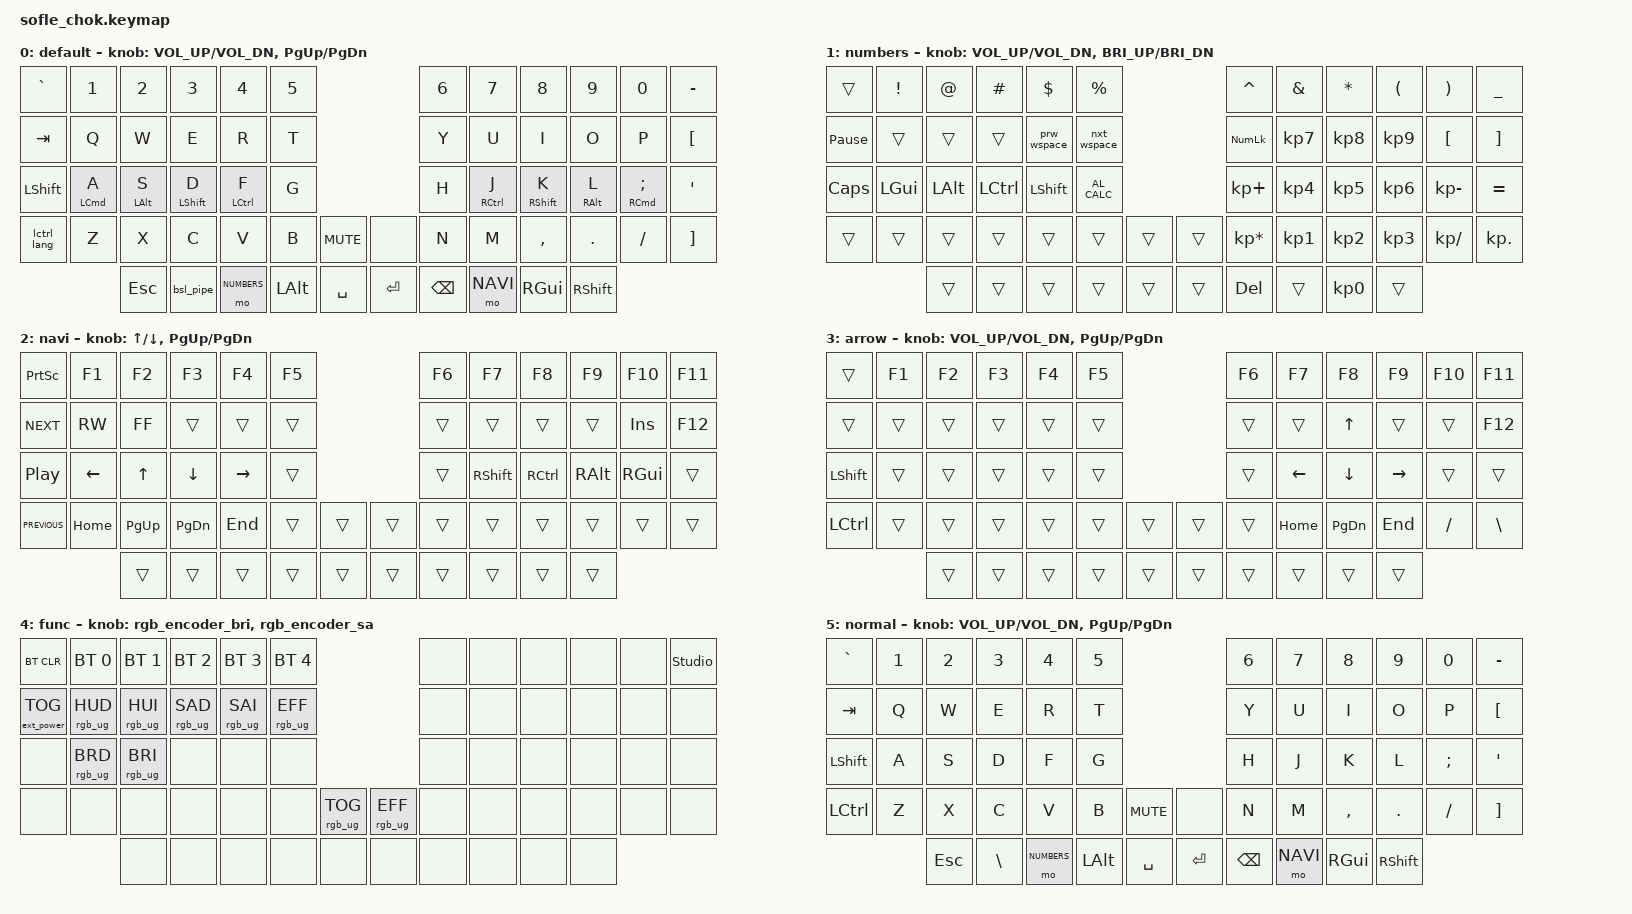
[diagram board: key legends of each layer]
/*
 * Copyright (c) 2020 The ZMK Contributors
 *
 * SPDX-License-Identifier: MIT
 */

/* --- KEYMAP CONFIG --- */
// ╭──────┬──────┬──────┬──────┬──────┬──────╮                 ╭──────┬──────┬──────┬──────┬──────┬──────╮
// │  00  │  01  │  02  │  03  │  04  │  05  │                 │  06  │  07  │  08  │  09  │  10  │  11  │
// ├──────┼──────┼──────┼──────┼──────┼──────┤                 ├──────┼──────┼──────┼──────┼──────┼──────┤
// │  12  │  13  │  14  │  15  │  16  │  17  │                 │  18  │  19  │  20  │  21  │  22  │  23  │
// ├──────┼──────┼──────┼──────┼──────┼──────┤                 ├──────┼──────┼──────┼──────┼──────┼──────┤
// │  24  │  25  │  26  │  27  │  28  │  29  │                 │  30  │  31  │  32  │  33  │  34  │  35  │
// ├──────┼──────┼──────┼──────┼──────┼──────┼──────╮   ╭──────┼──────┼──────┼──────┼──────┼──────┼──────┤
// │  36  │  37  │  38  │  39  │  40  │  41  │  42  │   │  43  │  44  │  45  │  46  │  47  │  48  │  49  │
// ╰──────┴──────┼──────┼──────┼──────┼──────┼──────┤   ├──────├──────┼──────┼──────┼──────┼──────┴──────╯
//               │  50  │  51  │  52  │  53  │  54  │   │  55  │  56  │  57  │  58  │  59  │
//               ╰──────┴──────┴──────┴──────┴──────╯   ╰──────┴──────┴──────┴──────┴──────╯


#include <behaviors.dtsi>
#include <dt-bindings/zmk/keys.h>
#include <dt-bindings/zmk/bt.h>
#include <dt-bindings/zmk/rgb.h>
#include <dt-bindings/zmk/ext_power.h>

#define QWERTY       0
#define NUMBERS      1
#define NAVI         2
#define ARROW        3
#define FN           4
#define NORMAL       5

#define LEFT_ROW_KEYS        0  1  2  3  4  5 \
                            12 13 14 15 16 17 \
                            24 25 26 27 28 29 \
                            36 37 38 39 40 41 \
                                  50 51 52 53 54
#define LEFT_ENCODER     42
#define RIGHT_ENCODER    43
#define RIGHT_ROW_KEYS          6  7  8  9 10 11 \
                               18 19 20 21 22 23 \
                               30 31 32 33 34 35 \
                               44 45 46 47 48 49 \
                            55 56 57 58 59

/ {

    combos {
        compatible = "zmk,combos";

        caps_word {
            bindings = <&caps_word>;
            key-positions = <28 31>;
            layers = <QWERTY NORMAL>;
        };
        
        to-qwerty {
            bindings = <&to QWERTY>;
            key-positions = <52 57>;
            layers = <FN NORMAL>;
        };

        to-normal {
            bindings = <&to NORMAL>;
            key-positions = <52 57>;
            layers = <QWERTY>;
        };
        
        to-fn {
            bindings = <&to FN>;
            key-positions = <50 59>;
            layers = <QWERTY NORMAL>;
        };
        
        
    };

    macros {

        alt_tog: alt_tog {
            compatible = "zmk,behavior-macro";
            #binding-cells = <0>;
            bindings
                = <&macro_press &mo ARROW &kp LALT>
                , <&macro_pause_for_release>
                , <&macro_release &mo ARROW &kp LALT>
                ;
        };
        win_space: win_space {
            compatible = "zmk,behavior-macro";
            #binding-cells = <0>;
            bindings
                = <&macro_press &kp LGUI>
                , <&macro_tap &kp SPACE>
                , <&macro_release &kp LGUI>
                ;
        };
        nxt_wspace: nxt_wspace {
            compatible = "zmk,behavior-macro";
            #binding-cells = <0>;
            bindings
                = <&macro_press &kp LGUI &kp LCTRL>
                , <&macro_tap &kp RIGHT>
                , <&macro_release &kp LGUI &kp LCTRL>
                ;
        };
        prw_wspace: prw_wspace {
            compatible = "zmk,behavior-macro";
            #binding-cells = <0>;
            bindings
                = <&macro_press &kp LGUI &kp LCTRL>
                , <&macro_tap &kp LEFT>
                , <&macro_release &kp LGUI &kp LCTRL>
                ;
        };
    };
    behaviors {    
        rgb_encoder_bri: rgb_encoder_bri {
            compatible = "zmk,behavior-sensor-rotate";
            #sensor-binding-cells = <0>;
            bindings = <&rgb_ug RGB_BRI>, <&rgb_ug RGB_BRD>;
        };    
        rgb_encoder_sa: rgb_encoder_sa {
            compatible = "zmk,behavior-sensor-rotate";
            #sensor-binding-cells = <0>;
            bindings = <&rgb_ug RGB_SAI>, <&rgb_ug RGB_SAD>;
        };
        rgb_encoder_hu: rgb_encoder_hu {
            compatible = "zmk,behavior-sensor-rotate";
            #sensor-binding-cells = <0>;
            bindings = <&rgb_ug RGB_HUI>, <&rgb_ug RGB_HUD>;
        };
        lctrl_lang: lctrl_lang {
            compatible = "zmk,behavior-tap-dance";
            #binding-cells = <0>;
            tapping-term-ms = <400>;
            bindings = <&kp LCTRL>, <&win_space>;
        };
        
        bsl_pipe: bsl_pipe {
            compatible = "zmk,behavior-tap-dance";
            #binding-cells = <0>;
            tapping-term-ms = <200>;
            bindings = <&kp BSLH>, <&kp PIPE>;
        };
 
        gresc: grave_escape {
            compatible = "zmk,behavior-mod-morph";
            #binding-cells = <0>;
            bindings = <&kp GRAVE>, <&kp ESC>;
            mods = <(MOD_LGUI|MOD_RCTL|MOD_RGUI|MOD_LCTL)>;
        };

        hmr: hmr {
            compatible = "zmk,behavior-hold-tap";
            bindings = <&kp>, <&kp>;
            #binding-cells = <2>;
            tapping-term-ms = <280>;
            quick-tap-ms = <175>;
            require-prior-idle-ms = <65>;
            flavor = "balanced";
            retro-tap;
            hold-trigger-key-positions = <LEFT_ROW_KEYS LEFT_ENCODER RIGHT_ENCODER>;
            hold-trigger-on-release;
        };

        hml: hml {
            compatible = "zmk,behavior-hold-tap";
            bindings = <&kp>, <&kp>;
            #binding-cells = <2>;
            tapping-term-ms = <280>;
            quick-tap-ms = <175>;
            require-prior-idle-ms = <65>;
            flavor = "balanced";
            retro-tap;
            hold-trigger-key-positions = <RIGHT_ROW_KEYS LEFT_ENCODER RIGHT_ENCODER>;
            hold-trigger-on-release;
        };

        hmt: hmt {
            compatible = "zmk,behavior-hold-tap";
            bindings = <&kp>, <&kp>;
            #binding-cells = <2>;
            tapping-term-ms = <280>;
            flavor = "balanced";
            hold-trigger-on-release;
            hold-while-undecided;
        };
    };
    keymap {
        compatible = "zmk,keymap";

        default_layer {
            display-name = "default";
            bindings = <
&kp GRAVE    &kp N1        &kp N2       &kp N3        &kp N4        &kp N5                           &kp N6    &kp N7        &kp N8        &kp N9       &kp N0          &kp MINUS
&kp TAB      &kp Q         &kp W        &kp E         &kp R         &kp T                            &kp Y     &kp U         &kp I         &kp O        &kp P           &kp LBKT
&kp LSHFT    &hml LCMD A   &hml LALT S  &hml LSHFT D  &hml LCTRL F  &kp G                            &kp H     &hmr RCTRL J  &hmr RSHFT K  &hmr RALT L  &hmr RCMD SEMI  &kp APOS
&lctrl_lang  &kp Z         &kp X        &kp C         &kp V         &kp B     &kp C_MUTE    &none    &kp N     &kp M         &kp COMMA     &kp DOT      &kp SLASH       &kp RBKT 
                           &kp ESC      &bsl_pipe     &mo NUMBERS   &kp LALT  &kp SPACE     &kp RET  &kp BSPC  &mo NAVI      &kp RGUI      &kp RSHFT
            >;

            sensor-bindings = <&inc_dec_kp C_VOL_UP C_VOL_DN &inc_dec_kp PG_UP PG_DN>;
        };

        numbers_layer {
            display-name = "numbers";

            bindings = <
&trans            &kp EXCL  &kp AT    &kp HASH   &kp DOLLAR   &kp PERCENT                      &kp CARET        &kp AMPS   &kp STAR   &kp LPAR   &kp RPAR      &kp UNDER
&kp PAUSE_BREAK   &trans    &trans    &trans     &prw_wspace  &nxt_wspace                      &kp KP_NUM       &kp KP_N7  &kp KP_N8  &kp KP_N9  &kp LBKT      &kp RBKT
&kp CAPS          &kp LGUI  &kp LALT  &kp LCTRL  &kp LSHFT    &kp C_AL_CALC                    &kp KP_PLUS      &kp KP_N4  &kp KP_N5  &kp KP_N6  &kp KP_MINUS  &kp EQUAL
&trans            &trans    &trans    &trans     &trans       &trans         &trans    &trans  &kp KP_MULTIPLY  &kp KP_N1  &kp KP_N2  &kp KP_N3  &kp KP_SLASH  &kp KP_DOT
                            &trans    &trans     &trans       &trans         &trans    &trans  &kp DEL          &trans     &kp KP_N0  &trans
            >;

            sensor-bindings = <&inc_dec_kp C_VOL_UP C_VOL_DN &inc_dec_kp C_BRI_UP C_BRI_DN>;
        };

        navi_layer {
            display-name = "navi";
            bindings = <
&kp PSCRN         &kp F1    &kp F2     &kp F3     &kp F4     &kp F5                    &kp F6  &kp F7     &kp F8     &kp F9    &kp F10   &kp F11
&kp C_NEXT        &kp C_RW  &kp C_FF   &trans     &trans     &trans                    &trans  &trans     &trans     &trans    &kp INS   &kp F12
&kp C_PLAY_PAUSE  &kp LEFT  &kp UP     &kp DOWN   &kp RIGHT  &trans                    &trans  &kp RSHFT  &kp RCTRL  &kp RALT  &kp RGUI  &trans
&kp C_PREVIOUS    &kp HOME  &kp PG_UP  &kp PG_DN  &kp END    &trans  &trans    &trans  &trans  &trans     &trans     &trans    &trans    &trans
                            &trans     &trans     &trans     &trans  &trans    &trans  &trans  &trans     &trans     &trans
            >;

            sensor-bindings = <&inc_dec_kp UP DOWN &inc_dec_kp PG_UP PG_DN>;
        };

        arrow_layer {
            display-name = "arrow";
            bindings = <
&trans     &kp F1  &kp F2  &kp F3  &kp F4  &kp F5                    &kp F6  &kp F7    &kp F8     &kp F9     &kp F10    &kp F11
&trans     &trans  &trans  &trans  &trans  &trans                    &trans  &trans    &kp UP     &trans     &trans     &kp F12
&kp LSHFT  &trans  &trans  &trans  &trans  &trans                    &trans  &kp LEFT  &kp DOWN   &kp RIGHT  &trans     &trans
&kp LCTRL  &trans  &trans  &trans  &trans  &trans  &trans    &trans  &trans  &kp HOME  &kp PG_DN  &kp END    &kp SLASH  &kp BSLH
                   &trans  &trans  &trans  &trans  &trans    &trans  &trans  &trans    &trans     &trans
                                                     
            >;

            sensor-bindings = <&inc_dec_kp C_VOL_UP C_VOL_DN &inc_dec_kp PG_UP PG_DN>;
        };

        function_layer {
            display-name = "func";
            bindings = <
&bt BT_CLR        &bt BT_SEL 0    &bt BT_SEL 1    &bt BT_SEL 2    &bt BT_SEL 3    &bt BT_SEL 4                                         &none &none &none &none &none &studio_unlock 
&ext_power EP_TOG &rgb_ug RGB_HUD &rgb_ug RGB_HUI &rgb_ug RGB_SAD &rgb_ug RGB_SAI &rgb_ug RGB_EFF                                      &none &none &none &none &none &none
&none             &rgb_ug RGB_BRD &rgb_ug RGB_BRI &none           &none           &none                                                &none &none &none &none &none &none
&none             &none           &none           &none           &none           &none            &rgb_ug RGB_TOG    &rgb_ug RGB_EFF  &none &none &none &none &none &none
                                  &none           &none           &none           &none            &none              &none            &none &none &none &none
            >;
            
            sensor-bindings = <&rgb_encoder_bri &rgb_encoder_sa>;
        };

        normal_layer {
            display-name = "normal";
            bindings = <
&kp GRAVE  &kp N1  &kp N2   &kp N3    &kp N4       &kp N5                             &kp N6    &kp N7    &kp N8     &kp N9     &kp N0     &kp MINUS
&kp TAB    &kp Q   &kp W    &kp E     &kp R        &kp T                              &kp Y     &kp U     &kp I      &kp O      &kp P      &kp LBKT
&kp LSHFT  &kp A   &kp S    &kp D     &kp F        &kp G                              &kp H     &kp J     &kp K      &kp L      &kp SEMI   &kp APOS
&kp LCTRL  &kp Z   &kp X    &kp C     &kp V        &kp B      &kp C_MUTE     &none    &kp N     &kp M     &kp COMMA  &kp DOT    &kp SLASH  &kp RBKT 
                   &kp ESC  &kp BSLH  &mo NUMBERS  &kp LALT   &kp SPACE      &kp RET  &kp BSPC  &mo NAVI  &kp RGUI   &kp RSHFT
            >;

            sensor-bindings = <&inc_dec_kp C_VOL_UP C_VOL_DN &inc_dec_kp PG_UP PG_DN>;
        };
    };
};
